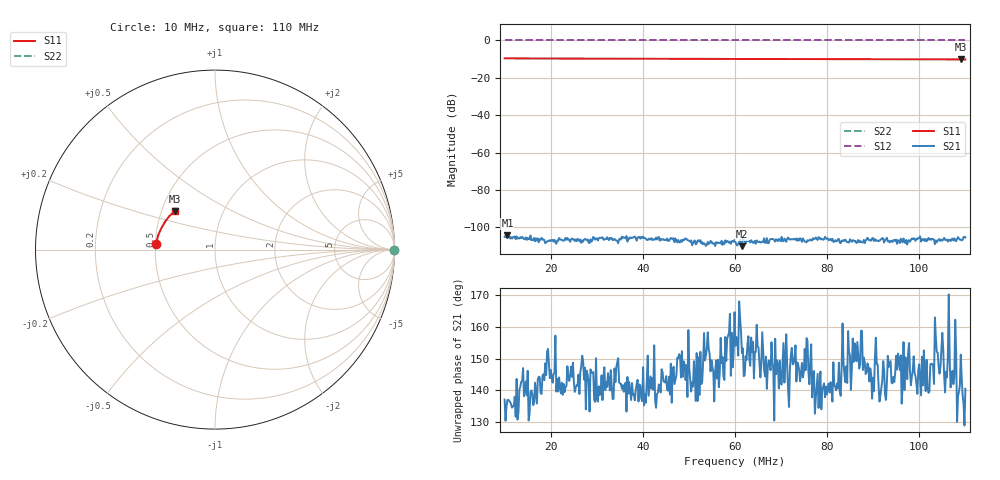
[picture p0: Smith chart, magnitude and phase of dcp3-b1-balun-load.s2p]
! Anritsu VNA Master:  Model: MS2034B/10/19/501
! SN:  1337062
! /bd0/ovro-jan-2016/dcp3-b1-balun-load.s2p
! Existing Calibration Information:
! TYPE:  Current Settings,  Active Cal Settings
! TIME:  01/14/2016 12:44:47 PM,  01/14/2016 12:01:10 PM
! INTERNAL TEMP:  42.0 C,  43.8 C
! # POINTS:  500,  500
! START FREQ:  10.000 MHz,  10.000 MHz
! STOP FREQ:  110.000 MHz,  110.000 MHz
! SOURCE POWER:  High,  High
! IFBW:  100 Hz,  100 Hz
! AVG FACTOR:  4 ,  4
! REF PLANE 1:  0 mm,  0 mm
! REF PLANE 2:  0 mm,  0 mm
! CAL TYPE:  Full S11,  Full S11
! CAL METHOD:  SOLT,  SOLT
! CAL LINE TYPE:  Coax,  Coax
! DUT PORT 1:  K-Conn(M),  K-Conn(M)
! DUT PORT 2:  N-Conn(M),  N-Conn(M)
! CAL STATUS:  OK: Accuracy High,  --
# GHZ S DB R 50.0
! FREQ.GHZ  S11DB  S11A  S21DB  S21A  S12DB  S12A  S22DB  S22A
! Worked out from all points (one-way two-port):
!   500 points, 10 MHz to 110 MHz, reference 50 ohm
!   highest |S21| = -104.35 dB at 10.6 MHz (marker M1); lowest = -110.1 dB at 61.5 MHz (marker M2)
!   lowest |S11| = -10.2 dB at 109 MHz (marker M3), VSWR 1.90, Z = 29.3 + j13.9 ohm
!   |S11| at or under -10 dB: 81.39 MHz to 83.13 MHz (1.745 MHz wide, 2.12 % of centre); 83.2 MHz to 84.54 MHz (1.34 MHz wide, 1.6 % of centre); 84.56 MHz to end of sweep
!   |S22| runs from 0.0 to 0.0 dB; largest |S21 - S12| = 1
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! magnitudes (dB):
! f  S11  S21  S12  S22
! 10 MHz  -9.6  -105.1  0.0  0.0
! 10.6 MHz  -9.6  -104.4  0.0  0.0
! 21.82 MHz  -9.7  -105.7  0.0  0.0
! 26.83 MHz  -9.7  -107.0  0.0  0.0
! 29.84 MHz  -9.7  -106.0  0.0  0.0
! 34.85 MHz  -9.7  -106.5  0.0  0.0
! 39.86 MHz  -9.8  -105.7  0.0  0.0
! 43.47 MHz  -9.8  -105.2  0.0  0.0
! 49.28 MHz  -9.9  -105.9  0.0  0.0
! 55.89 MHz  -9.9  -107.9  0.0  0.0
! 60.1 MHz  -9.9  -107.9  0.0  0.0
! 61.5 MHz  -9.9  -110.1  0.0  0.0
! 67.31 MHz  -9.9  -108.5  0.0  0.0
! 68.32 MHz  -9.9  -106.3  0.0  0.0
! 76.73 MHz  -10.0  -107.1  0.0  0.0
! 81.74 MHz  -10.0  -106.9  0.0  0.0
! 86.75 MHz  -10.0  -106.8  0.0  0.0
! 93.37 MHz  -10.1  -107.3  0.0  0.0
! 104.4 MHz  -10.1  -106.4  0.0  0.0
! 106.8 MHz  -10.1  -107.4  0.0  0.0
! 109 MHz  -10.2  -106.6  0.0  0.0
! 110 MHz  -10.2  -105.5  0.0  0.0
